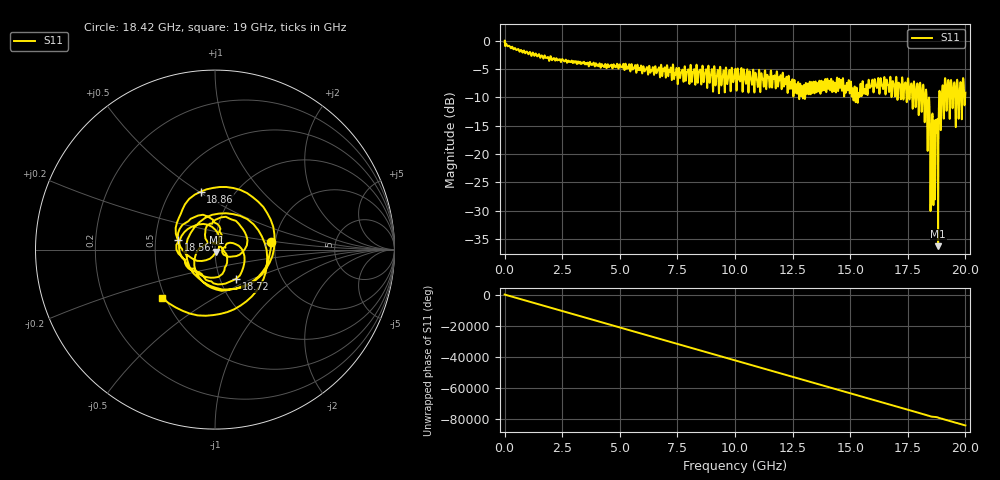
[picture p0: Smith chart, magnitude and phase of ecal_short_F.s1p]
! MS46122B
! 2250307/22442219
! 6/20/2025 7:47:37 AM
! C:\USERS\SPARKY\DOCUMENTS\VNA_DATA\JUNE20_2025\3.0K\ECAL_SHORT_F.S1P
! CHANNEL.1
! TR.MEASUREMENT
! RAW.DATA
# GHZ S RI R 50.0
! FREQ.GHZ  S11RE  S11IM
!; PortSelection: Port_1
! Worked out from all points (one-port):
!   10001 points, 1 MHz to 20 GHz, reference 50 ohm
!   lowest |S11| = -36.2 dB at 18.82 GHz (marker M1), VSWR 1.03, Z = 50.8 - j1.33 ohm
!   |S11| at or under -10 dB: 18.20412 GHz to 18.26618 GHz (62.06 MHz wide, 0.34 % of centre); 18.32 GHz to 18.86 GHz (541.1 MHz wide, 2.91 % of centre); 18.89726 GHz to 18.97216 GHz (74.91 MHz wide, 0.396 % of centre) (the widest 3 of 26)
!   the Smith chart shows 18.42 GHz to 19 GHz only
!   S11 on the Smith chart (normalised r, x): 18.42 GHz: 1.90, +0.18; 18.56 GHz: 0.66, +0.07; 18.72 GHz: 1.19, -0.40; 18.86 GHz: 0.70, +0.51; 19 GHz: 0.48, -0.31
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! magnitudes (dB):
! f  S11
! 1 MHz  -0.2
! 2.501 GHz  -3.3
! 5.001 GHz  -4.2
! 7.501 GHz  -7.0
! 10 GHz  -5.3
! 12.5 GHz  -7.0
! 12.95 GHz  -10.1
! 15 GHz  -8.3
! 15.32 GHz  -10.4
! 16.14 GHz  -8.1
! 17.5 GHz  -6.8
! 18.23 GHz  -14.0
! 18.29 GHz  -8.6
! 18.36 GHz  -19.2
! 18.42 GHz  -10.0
! 18.49 GHz  -30.1
! 18.56 GHz  -13.5
! 18.72 GHz  -14.0
! 18.76 GHz  -15.3
! 18.82 GHz  -36.2
! 18.86 GHz  -9.6
! 18.94 GHz  -15.4
! 19 GHz  -8.0
! 19.19 GHz  -12.3
! 19.65 GHz  -6.9
! 19.71 GHz  -13.6
! 19.77 GHz  -7.7
! 20 GHz  -9.1
